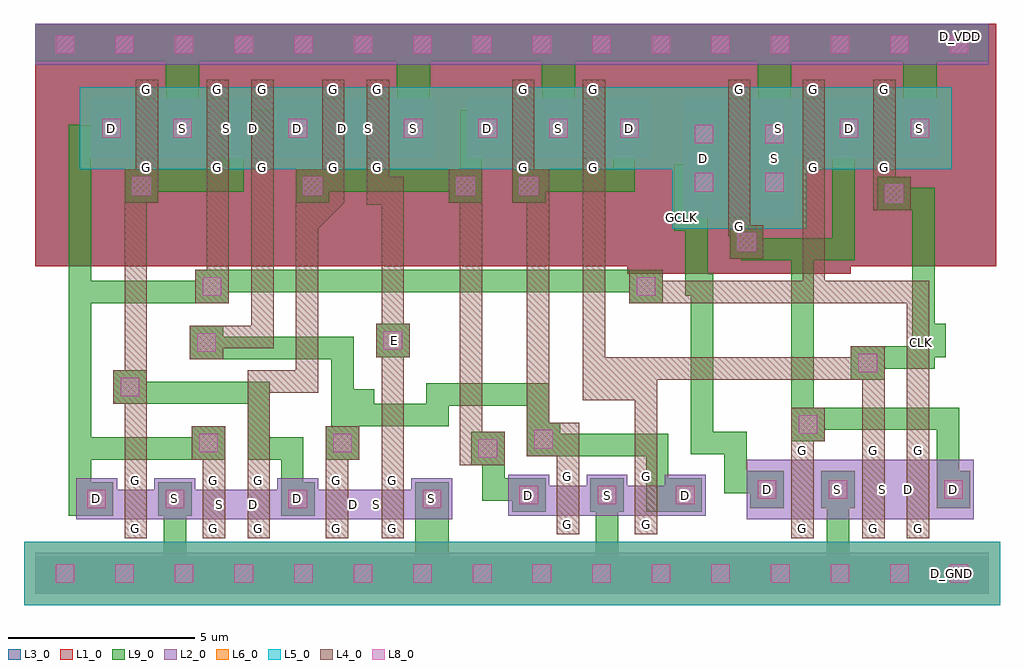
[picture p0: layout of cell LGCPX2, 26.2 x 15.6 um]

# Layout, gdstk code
import gdstk
lib = gdstk.Library(unit=1e-6, precision=1e-09)
def R(c, l, rs):  # rectangles x0, y0, x1, y1
    for r in rs: c.add(gdstk.rectangle(r[:2], r[2:], *l))
def A(c, l, x, y, w, h, nx, ny, dx, dy):  # array of equal rectangles
    R(c, l, [(x+i*dx, y+j*dy, x+i*dx+w, y+j*dy+h) for i in range(nx) for j in range(ny)])
def P(c, l, *ps):  # polygons
    for p in ps: c.add(gdstk.Polygon(p, *l))
L1_0 = (1, 0)
L2_0 = (2, 0)
L3_0 = (3, 0)
L4_0 = (4, 0)
L5_0 = (5, 0)
L6_0 = (6, 0)
L8_0 = (8, 0)
L9_0 = (9, 0)

lgcpx2 = lib.new_cell('LGCPX2')
A(lgcpx2, L1_0, 0, 8.8, 1.6, 6.5, 16, 1, 1.6, 0)
R(lgcpx2, L1_0, [(15.9,8.6,21.9,14.8), (25.6,8.8,25.8,15.3), (0,10.2,6,14.8), (1.9,10.2,7.9,14.8), (3.1,10.2,9.1,14.8), (5,10.2,11,14.8), (6.2,10.2,12.2,14.8), (10.1,10.2,16.1,14.8), (12,10.2,18,14.8), (17.9,10.2,23.9,14.8), (19.8,10.2,25.8,14.8)])
A(lgcpx2, L2_0, 0, 0, 1.6, 1.1, 16, 2, 1.6, 14.2)
R(lgcpx2, L2_0, [(1.1,2,2.2,3.1), (2.2,2,3.2,2.8), (3.2,2,4.3,3.1), (3.2,2,4.3,3.1), (4.3,2,5.3,2.8), (4.4,2,5.5,2.8), (5.3,2,6.4,2.8), (5.5,2,6.5,2.8), (6.5,2,7.6,3.1), (6.5,2,7.6,3.1), (7.6,2,8.6,2.8), (8,2,9.1,2.8), (8.6,2,9.7,2.8), (9.1,2,10.1,2.8), (10.1,2,11.2,3.1), (19.1,2,20.2,3.6), (20.2,2,21,3.6), (21,2,22.1,3.6), (21,2,22.1,3.6), (22.1,2,22.9,3.6), (22.2,2,23.3,3.6), (22.9,2,24,3.6), (23.3,2,24.1,3.6), (24.1,2,25.2,3.6), (12.7,2.1,13.8,3.2), (13.8,2.1,14.8,2.9), (14.8,2.1,15.9,3.2), (14.8,2.1,15.9,3.2), (15.9,2.1,16.9,2.9), (16.9,2.1,18,3.2), (17.4,10.1,18.5,13.3), (18.5,10.1,19.3,13.3), (19.3,10.1,20.4,13.3), (1.5,11.7,2.6,13.3), (2.6,11.7,3.4,13.3), (3.4,11.7,4.5,13.3), (3.4,11.7,4.5,13.3), (4.5,11.7,5.3,13.3), (4.6,11.7,5.7,13.3), (5.3,11.7,6.4,13.3), (5.7,11.7,6.5,13.3), (6.5,11.7,7.6,13.3), (6.5,11.7,7.6,13.3), (7.6,11.7,8.4,13.3), (7.7,11.7,8.8,13.3), (8.4,11.7,9.5,13.3), (8.8,11.7,9.6,13.3), (9.6,11.7,10.7,13.3), (11.6,11.7,12.7,13.3), (12.7,11.7,13.5,13.3), (13.5,11.7,14.6,13.3), (13.5,11.7,14.6,13.3), (14.6,11.7,15.4,13.3), (15.4,11.7,16.5,13.3), (19.4,11.7,20.5,13.3), (20.5,11.7,21.3,13.3), (21.3,11.7,22.4,13.3), (21.3,11.7,22.4,13.3), (22.4,11.7,23.2,13.3), (23.2,11.7,24.3,13.3)])
A(lgcpx2, L3_0, 0, 8.8, 1.6, 6.5, 16, 1, 1.6, 0)
R(lgcpx2, L3_0, [(15.9,8.6,21.9,14.8), (25.6,8.8,25.8,15.3), (0,10.2,6,14.8), (1.9,10.2,7.9,14.8), (3.1,10.2,9.1,14.8), (5,10.2,11,14.8), (6.2,10.2,12.2,14.8), (10.1,10.2,16.1,14.8), (12,10.2,18,14.8), (17.9,10.2,23.9,14.8), (19.8,10.2,25.8,14.8)])
R(lgcpx2, L4_0, [(2.4,1.5,3,2), (2.4,1.5,3,3.3), (4.5,1.5,5.1,2), (4.5,1.5,5.1,3.3), (5.7,1.5,6.3,2), (5.7,1.5,6.3,3.3), (7.8,1.5,8.4,2), (7.8,1.5,8.4,3.3), (9.3,1.5,9.9,2), (9.3,1.5,9.9,3.3), (20.3,1.5,20.9,2), (20.3,1.5,20.9,4.1), (22.2,1.5,22.8,2), (22.2,1.5,22.8,4.1), (23.4,1.5,24,2), (23.4,1.5,24,4.1), (14,1.6,14.6,2.1), (14,1.6,14.6,3.4), (16.1,1.6,16.7,2.1), (16.1,1.6,16.7,3.4), (4.5,2.6,5.1,4.3), (2.4,2.8,3,3.3), (4.5,2.8,5.1,3.3), (5.7,2.8,6.3,3.3), (7.8,2.8,8.4,3.3), (9.3,2.8,9.9,3.3), (14,2.9,14.6,3.4), (16.1,2.9,16.7,3.4), (2.4,3.3,3,5.1), (7.8,3.3,8.4,4.5), (14,3.3,14.6,4.6), (11.4,3.45,12,10.5), (11.7,3.45,12.6,4.35), (4.2,3.6,5.1,4.5), (7.8,3.6,8.7,4.5), (20.3,3.6,20.9,4.1), (22.2,3.6,22.8,4.1), (23.4,3.6,24,4.1), (4.2,3.7,5.1,4.3), (13.2,3.7,14.1,4.6), (20.3,4.1,21.2,5), (22.2,4.1,22.8,5.75), (13.2,4.6,13.8,11.4), (2.1,5.1,3,6), (14.7,5.2,15.3,11.2), (15.3,5.75,21.9,6.35), (21.9,5.75,22.8,6.65), (2.4,6,3,10.5), (4.15,6.3,5.05,7.2), (9.15,6.35,10.05,7.25), (4.45,6.6,6.4,7.2), (5.8,7.05,6.4,11.2), (4.3,7.8,5.2,8.7), (15.95,7.8,16.85,8.7), (4.6,8.65,5.2,11.55), (18.65,9,19.55,9.9), (18.6,9.6,19.2,13.8), (18.6,9.6,19.2,10.1), (22.5,10.3,22.6,11.2), (22.6,10.3,23.5,11.2), (2.4,10.5,3.3,11.4), (7,10.5,7.9,11.4), (7.9,10.5,8.3,11.2), (11.1,10.5,12,11.4), (12.8,10.5,13.7,11.4), (2.7,11.2,3.3,11.7), (2.7,11.2,3.3,13.8), (4.6,11.2,5.2,11.7), (4.6,11.2,5.2,13.8), (5.8,11.2,6.4,11.7), (5.8,11.2,6.4,13.8), (7.7,11.2,8.3,11.7), (7.7,11.2,8.3,13.8), (8.9,11.2,9.5,11.7), (8.9,11.2,9.5,13.8), (12.8,11.2,13.4,11.7), (12.8,11.2,13.4,13.8), (14.7,11.2,15.3,11.7), (14.7,11.2,15.3,13.8), (20.6,11.2,21.2,11.7), (20.6,11.2,21.2,13.8), (22.5,11.2,23.1,11.7), (22.5,11.2,23.1,13.8), (2.7,13.3,3.3,13.8), (4.6,13.3,5.2,13.8), (5.8,13.3,6.4,13.8), (7.7,13.3,8.3,13.8), (8.9,13.3,9.5,13.8), (12.8,13.3,13.4,13.8), (14.7,13.3,15.3,13.8), (18.6,13.3,19.2,13.8), (20.6,13.3,21.2,13.8), (22.5,13.3,23.1,13.8)])
P(lgcpx2, L4_0, [(7.6,10.5),(7.6,9.8),(8.3,10.5)],
  [(15.95,7.8),(21.2,7.8),(21.2,11.2),(20.6,11.2),(20.6,8.4),(15.95,8.4)],
  [(21.2,7.8),(23.4,7.8),(23.4,4.1),(24,4.1),(24,8.4),(21.2,8.4)],
  [(5.7,3.3),(6.3,3.3),(6.3,5.4),(7.6,5.4),(7.6,10.5),(7,10.5),(7,6),(5.7,6)],
  [(8.9,10.45),(9.3,10.45),(9.3,3.3),(9.9,3.3),(9.9,11.2),(8.9,11.2)],
  [(15.3,5.2),(16.1,5.2),(16.1,3.4),(16.7,3.4),(16.7,5.8),(15.3,5.8)])
A(lgcpx2, L5_0, 1.6, -0.3, 1.6, 1.7, 14, 1, 1.6, 0)
R(lgcpx2, L5_0, [(-0.3,-0.3,1.6,1.4), (24,-0.3,25.9,1.4), (17.1,9.8,20.7,13.6), (1.2,11.4,4.8,13.6), (3.1,11.4,6.7,13.6), (4.3,11.4,7.9,13.6), (6.2,11.4,9.8,13.6), (7.4,11.4,11,13.6), (11,11.4,11.35,13.6), (11.3,11.4,14.9,13.6), (13.2,11.4,16.8,13.6), (16.6,11.4,17.35,13.6), (19.1,11.4,22.7,13.6), (21,11.4,24.6,13.6)])
A(lgcpx2, L6_0, 1.6, -0.3, 1.6, 1.7, 14, 1, 1.6, 0)
R(lgcpx2, L6_0, [(-0.3,-0.3,1.6,1.4), (24,-0.3,25.9,1.4), (17.1,9.8,20.7,13.6), (1.2,11.4,4.8,13.6), (3.1,11.4,6.7,13.6), (4.3,11.4,7.9,13.6), (6.2,11.4,9.8,13.6), (7.4,11.4,11,13.6), (11,11.4,11.35,13.6), (11.3,11.4,14.9,13.6), (13.2,11.4,16.8,13.6), (16.6,11.4,17.35,13.6), (19.1,11.4,22.7,13.6), (21,11.4,24.6,13.6)])
A(lgcpx2, L8_0, 0.55, 0.3, 0.5, 0.5, 16, 2, 1.6, 14.2)
R(lgcpx2, L8_0, [(1.4,2.3,1.9,2.8), (3.5,2.3,4,2.8), (3.5,2.3,4,2.8), (6.8,2.3,7.3,2.8), (6.8,2.3,7.3,2.8), (10.4,2.3,10.9,2.8), (13,2.4,13.5,2.9), (15.1,2.4,15.6,2.9), (15.1,2.4,15.6,2.9), (17.2,2.4,17.7,2.9), (19.4,2.55,19.9,3.05), (21.3,2.55,21.8,3.05), (24.4,2.55,24.9,3.05), (11.9,3.65,12.4,4.15), (4.4,3.8,4.9,4.3), (8,3.8,8.5,4.3), (13.4,3.9,13.9,4.4), (20.5,4.3,21,4.8), (2.3,5.3,2.8,5.8), (22.1,5.95,22.6,6.45), (4.35,6.5,4.85,7), (9.35,6.55,9.85,7.05), (4.5,8,5,8.5), (16.15,8,16.65,8.5), (18.85,9.2,19.35,9.7), (22.8,10.5,23.3,11), (2.6,10.7,3.1,11.2), (7.2,10.7,7.7,11.2), (11.3,10.7,11.8,11.2), (13,10.7,13.5,11.2), (17.7,10.8,18.2,11.3), (19.6,10.8,20.1,11.3), (17.7,12.1,18.2,12.6), (19.6,12.1,20.1,12.6), (1.8,12.25,2.3,12.75), (3.7,12.25,4.2,12.75), (3.7,12.25,4.2,12.75), (6.8,12.25,7.3,12.75), (6.8,12.25,7.3,12.75), (9.9,12.25,10.4,12.75), (11.9,12.25,12.4,12.75), (13.8,12.25,14.3,12.75), (13.8,12.25,14.3,12.75), (15.7,12.25,16.2,12.75), (21.6,12.25,22.1,12.75), (21.6,12.25,22.1,12.75), (23.5,12.25,24,12.75)])
A(lgcpx2, L9_0, 0, 0, 1.6, 1, 16, 2, 1.6, 14.3)
R(lgcpx2, L9_0, [(10.2,0.1,11.1,3), (15.05,0.15,15.65,2.85), (21.25,0.2,21.85,2.9), (3.45,0.25,4.05,2.75), (24.3,0.25,24.9,0.85), (1.2,2.1,2.1,3), (3.3,2.1,4.2,3), (3.3,2.1,4.2,3), (6.6,2.1,7.5,3), (6.6,2.1,7.5,3), (10.2,2.1,11.1,3), (12.8,2.2,13.7,3.1), (14.9,2.2,15.8,3.1), (14.9,2.2,15.8,3.1), (17,2.2,17.9,3.1), (19.2,2.3,20.1,3.3), (21.1,2.3,22,3.3), (24.2,2.3,25.1,3.3), (11.7,3.45,12.6,4.35), (0.9,3.6,4.2,4.2), (4.2,3.6,5.1,4.5), (7.8,3.6,8.7,4.5), (13.2,3.7,14.1,4.6), (20.3,4.1,21.2,5), (20.3,4.4,20.9,9.55), (7.95,4.5,8.7,4.9), (2.1,5.1,3,6), (21.9,5.75,22.8,6.65), (4.15,6.3,5.05,7.2), (9.15,6.35,10.05,7.25), (23.55,6.35,24.45,7.25), (9.3,6.6,9.9,7.2), (0.9,7.8,5.15,8.4), (4.3,7.8,5.2,8.7), (15.95,7.8,16.85,8.7), (18.65,9,19.55,9.9), (17.15,9.75,18.05,10.65), (22.6,10.3,23.5,11.2), (2.4,10.5,3.3,11.4), (7,10.5,7.9,11.4), (11.1,10.5,12,11.4), (12.8,10.5,13.7,11.4), (17.15,10.6,17.5,11.55), (17.5,10.6,18.4,12.8), (19.4,10.6,20.3,12.8), (1.6,12,2.5,13), (3.5,12,4.4,13), (3.5,12,4.4,13), (6.6,12,7.5,13), (6.6,12,7.5,13), (9.7,12,10.6,13), (11.7,12,12.6,13), (13.6,12,14.5,13), (13.6,12,14.5,13), (15.5,12,16.4,13), (21.4,12,22.3,13), (21.4,12,22.3,13), (23.3,12,24.2,13), (19.4,12.05,20.3,15.15), (3.5,12.1,4.4,15.2), (9.7,12.1,10.6,15.2), (24.55,14.65,25.15,15.25)])
P(lgcpx2, L9_0, [(13.6,12.1),(14.5,12.1),(14.5,14.3),(15.3,14.3),(15.3,15.2),(13.6,15.2)],
  [(0.9,2.1),(1.5,2.1),(1.5,12),(2.5,12),(2.5,12.6),(0.9,12.6)],
  [(2.7,10.8),(5.6,10.8),(5.6,12.4),(7.5,12.4),(7.5,13),(5,13),(5,11.4),(2.7,11.4)],
  [(7,10.8),(12,10.8),(12,13),(11.4,13),(11.4,11.4),(7,11.4)],
  [(12.8,10.8),(16.1,10.8),(16.1,13),(15.5,13),(15.5,11.4),(12.8,11.4)],
  [(2.4,5.1),(5.7,5.1),(5.7,3.6),(6.6,3.6),(6.6,2.4),(7.2,2.4),(7.2,4.2),(6.3,4.2),(6.3,5.7),(2.4,5.7)],
  [(8.1,4.5),(11.1,4.5),(11.1,5.05),(13.2,5.05),(13.2,4),(13.8,4),(13.8,5.65),(10.5,5.65),(10.5,5.1),(8.1,5.1)],
  [(12,2.5),(13.4,2.5),(13.4,3.1),(12.6,3.1),(12.6,4.05),(12,4.05)],
  [(13.8,3.7),(16.4,3.7),(16.4,2.2),(17.9,2.2),(17.9,2.8),(17,2.8),(17,4.3),(13.8,4.3)],
  [(4.45,6.3),(7.95,6.3),(7.95,4.9),(9.1,4.9),(9.1,5.5),(8.55,5.5),(8.55,6.9),(4.45,6.9)],
  [(22.8,10.3),(23.55,10.3),(23.55,6.65),(24.15,6.65),(24.15,10.9),(22.8,10.9)],
  [(23.3,12.1),(24.2,12.1),(24.2,14.3),(24.9,14.3),(24.9,15.2),(23.3,15.2)],
  [(4.6,8.1),(15.95,8.1),(15.95,8),(16.55,8),(16.55,8.7),(4.6,8.7)],
  [(20.6,4.4),(24.2,4.4),(24.2,2.7),(24.8,2.7),(24.8,5),(20.6,5)],
  [(17.45,8),(17.6,8),(17.6,3.75),(18.5,3.75),(18.5,2.7),(19.8,2.7),(19.8,3.3),(19.1,3.3),(19.1,4.35),(18.2,4.35),(18.2,8.6),(18.05,8.6),(18.05,10.35),(17.45,10.35)],
  [(18.95,8.95),(22,8.95),(22,12.6),(21.4,12.6),(21.4,9.55),(19.55,9.55),(19.55,9.6),(18.95,9.6)],
  [(22.2,6.05),(24.15,6.05),(24.15,6.95),(23.55,6.95),(23.55,6.65),(22.2,6.65)])
lgcpx2.add(gdstk.Label('G', (18.9,9.852), layer=4, texttype=0))
lgcpx2.add(gdstk.Label('G', (18.9,13.552), layer=4, texttype=0))
lgcpx2.add(gdstk.Label('S', (19.851,11.701), layer=9, texttype=0))
lgcpx2.add(gdstk.Label('D', (17.951,11.701), layer=9, texttype=0))
lgcpx2.add(gdstk.Label('G', (20.6,1.752), layer=4, texttype=0))
lgcpx2.add(gdstk.Label('G', (20.6,3.852), layer=4, texttype=0))
lgcpx2.add(gdstk.Label('S', (21.551,2.801), layer=9, texttype=0))
lgcpx2.add(gdstk.Label('D', (19.651,2.801), layer=9, texttype=0))
lgcpx2.add(gdstk.Label('G', (22.8,11.452), layer=4, texttype=0))
lgcpx2.add(gdstk.Label('G', (22.8,13.552), layer=4, texttype=0))
lgcpx2.add(gdstk.Label('S', (23.751,12.501), layer=9, texttype=0))
lgcpx2.add(gdstk.Label('D', (21.851,12.501), layer=9, texttype=0))
lgcpx2.add(gdstk.Label('G', (20.9,11.452), layer=4, texttype=0))
lgcpx2.add(gdstk.Label('G', (20.9,13.552), layer=4, texttype=0))
lgcpx2.add(gdstk.Label('S', (19.949,12.501), layer=2, texttype=0))
lgcpx2.add(gdstk.Label('D', (21.849,12.501), layer=9, texttype=0))
lgcpx2.add(gdstk.Label('D', (23.449,2.801), layer=2, texttype=0))
lgcpx2.add(gdstk.Label('G', (22.5,1.752), layer=4, texttype=0))
lgcpx2.add(gdstk.Label('G', (22.5,3.852), layer=4, texttype=0))
lgcpx2.add(gdstk.Label('S', (21.549,2.801), layer=2, texttype=0))
lgcpx2.add(gdstk.Label('G', (23.7,1.752), layer=4, texttype=0))
lgcpx2.add(gdstk.Label('G', (23.7,3.852), layer=4, texttype=0))
lgcpx2.add(gdstk.Label('S', (22.749,2.801), layer=2, texttype=0))
lgcpx2.add(gdstk.Label('D', (24.649,2.801), layer=9, texttype=0))
lgcpx2.add(gdstk.Label('G', (3,11.452), layer=4, texttype=0))
lgcpx2.add(gdstk.Label('G', (3,13.552), layer=4, texttype=0))
lgcpx2.add(gdstk.Label('S', (3.951,12.501), layer=9, texttype=0))
lgcpx2.add(gdstk.Label('D', (2.051,12.501), layer=9, texttype=0))
lgcpx2.add(gdstk.Label('G', (6.1,11.452), layer=4, texttype=0))
lgcpx2.add(gdstk.Label('G', (6.1,13.552), layer=4, texttype=0))
lgcpx2.add(gdstk.Label('S', (5.149,12.501), layer=2, texttype=0))
lgcpx2.add(gdstk.Label('D', (7.049,12.501), layer=9, texttype=0))
lgcpx2.add(gdstk.Label('G', (4.9,11.452), layer=4, texttype=0))
lgcpx2.add(gdstk.Label('G', (4.9,13.552), layer=4, texttype=0))
lgcpx2.add(gdstk.Label('S', (3.949,12.501), layer=9, texttype=0))
lgcpx2.add(gdstk.Label('D', (5.849,12.501), layer=2, texttype=0))
lgcpx2.add(gdstk.Label('D', (5.849,2.401), layer=2, texttype=0))
lgcpx2.add(gdstk.Label('G', (4.8,1.752), layer=4, texttype=0))
lgcpx2.add(gdstk.Label('G', (4.8,3.052), layer=4, texttype=0))
lgcpx2.add(gdstk.Label('S', (3.749,2.551), layer=9, texttype=0))
lgcpx2.add(gdstk.Label('G', (6,1.752), layer=4, texttype=0))
lgcpx2.add(gdstk.Label('G', (6,3.052), layer=4, texttype=0))
lgcpx2.add(gdstk.Label('S', (4.949,2.401), layer=2, texttype=0))
lgcpx2.add(gdstk.Label('D', (7.049,2.551), layer=9, texttype=0))
lgcpx2.add(gdstk.Label('G', (2.7,1.752), layer=4, texttype=0))
lgcpx2.add(gdstk.Label('G', (2.7,3.052), layer=4, texttype=0))
lgcpx2.add(gdstk.Label('S', (3.751,2.551), layer=9, texttype=0))
lgcpx2.add(gdstk.Label('D', (1.651,2.551), layer=9, texttype=0))
lgcpx2.add(gdstk.Label('G', (8,11.452), layer=4, texttype=0))
lgcpx2.add(gdstk.Label('G', (8,13.552), layer=4, texttype=0))
lgcpx2.add(gdstk.Label('S', (8.951,12.501), layer=2, texttype=0))
lgcpx2.add(gdstk.Label('D', (7.051,12.501), layer=9, texttype=0))
lgcpx2.add(gdstk.Label('G', (9.2,11.452), layer=4, texttype=0))
lgcpx2.add(gdstk.Label('G', (9.2,13.552), layer=4, texttype=0))
lgcpx2.add(gdstk.Label('S', (10.151,12.501), layer=9, texttype=0))
lgcpx2.add(gdstk.Label('D', (8.251,12.501), layer=2, texttype=0))
lgcpx2.add(gdstk.Label('D', (8.551,2.401), layer=2, texttype=0))
lgcpx2.add(gdstk.Label('G', (9.6,1.752), layer=4, texttype=0))
lgcpx2.add(gdstk.Label('G', (9.6,3.052), layer=4, texttype=0))
lgcpx2.add(gdstk.Label('S', (10.651,2.551), layer=9, texttype=0))
lgcpx2.add(gdstk.Label('G', (8.1,1.752), layer=4, texttype=0))
lgcpx2.add(gdstk.Label('G', (8.1,3.052), layer=4, texttype=0))
lgcpx2.add(gdstk.Label('S', (9.151,2.401), layer=2, texttype=0))
lgcpx2.add(gdstk.Label('D', (7.051,2.551), layer=9, texttype=0))
lgcpx2.add(gdstk.Label('G', (13.1,11.452), layer=4, texttype=0))
lgcpx2.add(gdstk.Label('G', (13.1,13.552), layer=4, texttype=0))
lgcpx2.add(gdstk.Label('S', (14.051,12.501), layer=9, texttype=0))
lgcpx2.add(gdstk.Label('D', (12.151,12.501), layer=9, texttype=0))
lgcpx2.add(gdstk.Label('G', (15,11.452), layer=4, texttype=0))
lgcpx2.add(gdstk.Label('G', (15,13.552), layer=4, texttype=0))
lgcpx2.add(gdstk.Label('S', (14.049,12.501), layer=9, texttype=0))
lgcpx2.add(gdstk.Label('D', (15.949,12.501), layer=9, texttype=0))
lgcpx2.add(gdstk.Label('G', (14.3,1.852), layer=4, texttype=0))
lgcpx2.add(gdstk.Label('G', (14.3,3.152), layer=4, texttype=0))
lgcpx2.add(gdstk.Label('S', (15.351,2.651), layer=9, texttype=0))
lgcpx2.add(gdstk.Label('D', (13.251,2.651), layer=9, texttype=0))
lgcpx2.add(gdstk.Label('G', (16.4,1.852), layer=4, texttype=0))
lgcpx2.add(gdstk.Label('G', (16.4,3.152), layer=4, texttype=0))
lgcpx2.add(gdstk.Label('S', (15.349,2.651), layer=9, texttype=0))
lgcpx2.add(gdstk.Label('D', (17.449,2.651), layer=9, texttype=0))
lgcpx2.add(gdstk.Label('E', (9.65,6.8), layer=50, texttype=0))
lgcpx2.add(gdstk.Label('D_VDD', (24.85,14.95), layer=50, texttype=0))
lgcpx2.add(gdstk.Label('D_GND', (24.6,0.55), layer=50, texttype=0))
lgcpx2.add(gdstk.Label('GCLK', (17.35,10.1), layer=50, texttype=0))
lgcpx2.add(gdstk.Label('CLK', (23.8,6.75), layer=50, texttype=0))

lib.write_gds('LGCPX2.gds')
